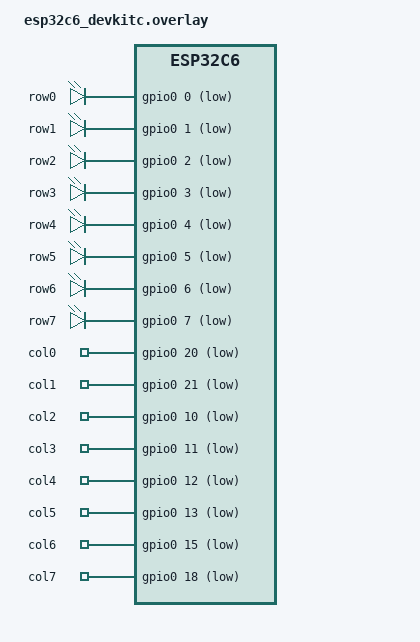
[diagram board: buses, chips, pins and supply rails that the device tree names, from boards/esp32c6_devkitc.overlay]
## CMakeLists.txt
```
# SPDX-License-Identifier: Apache-2.0

cmake_minimum_required(VERSION 3.20.0)

find_package(Zephyr REQUIRED HINTS $ENV{ZEPHYR_BASE})
project(smart_dartboard)

target_sources(app PRIVATE
    src/main.c
    src/matrix.c
    src/game.c
    src/ble.c
)

target_include_directories(app PRIVATE src)
```

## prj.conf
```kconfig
# ═══════════════════════════════════════════════════════════════════════════
# Smart Dartboard — Zephyr Project Configuration
# Target: ESP32-C6-DevKitC-1 (N4)
# Mode: BLE (GranBoard-compatible peripheral)
# ═══════════════════════════════════════════════════════════════════════════

# --- Core ---
CONFIG_MAIN_STACK_SIZE=8192
CONFIG_HEAP_MEM_POOL_SIZE=196608
CONFIG_SYSTEM_WORKQUEUE_STACK_SIZE=4096

# --- GPIO ---
CONFIG_GPIO=y

# --- Console / Logging ---
CONFIG_SERIAL=y
CONFIG_CONSOLE=y
CONFIG_UART_CONSOLE=y
CONFIG_LOG=y
CONFIG_LOG_DEFAULT_LEVEL=3
CONFIG_PRINTK=y

# --- Bluetooth Low Energy ---
CONFIG_BT=y
CONFIG_BT_PERIPHERAL=y
CONFIG_BT_DEVICE_NAME="GranBoard"
CONFIG_BT_DEVICE_APPEARANCE=0
CONFIG_BT_MAX_CONN=1
CONFIG_BT_MAX_PAIRED=1

# BLE buffer tuning — ensure notifications don't stall the controller.
# Default ACL TX count is 3; bumping to 7 gives headroom for the
# separator + hit pair without back-pressure blocking the system workqueue.
CONFIG_BT_BUF_ACL_TX_COUNT=7
CONFIG_BT_L2CAP_TX_BUF_COUNT=7

# --- Threads ---
CONFIG_THREAD_NAME=y
```

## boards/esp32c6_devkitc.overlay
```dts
/*
 * Devicetree overlay for ESP32-C6-DevKitC-1 (N4)
 * Smart Dartboard — 8x8 matrix pin assignments
 *
 * Row outputs (active-low scan):  GPIO 0,1,2,3,4,5,6,7
 * Column inputs (pull-up):        GPIO 20,21,10,11,12,13,15,18
 */

/ {
    dartboard_matrix {
        compatible = "gpio-leds";

        /* Row output pins (directly driven) */
        row0: row_0 { gpios = <&gpio0 0 GPIO_ACTIVE_LOW>; };
        row1: row_1 { gpios = <&gpio0 1 GPIO_ACTIVE_LOW>; };
        row2: row_2 { gpios = <&gpio0 2 GPIO_ACTIVE_LOW>; };
        row3: row_3 { gpios = <&gpio0 3 GPIO_ACTIVE_LOW>; };
        row4: row_4 { gpios = <&gpio0 4 GPIO_ACTIVE_LOW>; };
        row5: row_5 { gpios = <&gpio0 5 GPIO_ACTIVE_LOW>; };
        row6: row_6 { gpios = <&gpio0 6 GPIO_ACTIVE_LOW>; };
        row7: row_7 { gpios = <&gpio0 7 GPIO_ACTIVE_LOW>; };
    };

    dartboard_columns {
        compatible = "gpio-keys";

        /* Column input pins (active-low, with pull-up) */
        col0: col_0 { gpios = <&gpio0 20 (GPIO_ACTIVE_LOW | GPIO_PULL_UP)>; };
        col1: col_1 { gpios = <&gpio0 21 (GPIO_ACTIVE_LOW | GPIO_PULL_UP)>; };
        col2: col_2 { gpios = <&gpio0 10 (GPIO_ACTIVE_LOW | GPIO_PULL_UP)>; };
        col3: col_3 { gpios = <&gpio0 11 (GPIO_ACTIVE_LOW | GPIO_PULL_UP)>; };
        col4: col_4 { gpios = <&gpio0 12 (GPIO_ACTIVE_LOW | GPIO_PULL_UP)>; };
        col5: col_5 { gpios = <&gpio0 13 (GPIO_ACTIVE_LOW | GPIO_PULL_UP)>; };
        col6: col_6 { gpios = <&gpio0 15 (GPIO_ACTIVE_LOW | GPIO_PULL_UP)>; };
        col7: col_7 { gpios = <&gpio0 18 (GPIO_ACTIVE_LOW | GPIO_PULL_UP)>; };
    };

    aliases {
        dartboard-row0 = &row0;
        dartboard-row1 = &row1;
        dartboard-row2 = &row2;
        dartboard-row3 = &row3;
        dartboard-row4 = &row4;
        dartboard-row5 = &row5;
        dartboard-row6 = &row6;
        dartboard-row7 = &row7;
        dartboard-col0 = &col0;
        dartboard-col1 = &col1;
        dartboard-col2 = &col2;
        dartboard-col3 = &col3;
        dartboard-col4 = &col4;
        dartboard-col5 = &col5;
        dartboard-col6 = &col6;
        dartboard-col7 = &col7;
    };
};
```

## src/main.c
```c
/*
 * SPDX-License-Identifier: Apache-2.0
 *
 * Smart Dartboard — Main entry point
 * Zephyr RTOS application for ESP32-C6-DevKitC-1 (N4)
 *
 * Architecture:
 *   - Main thread: BLE initialization (GranBoard-compatible peripheral)
 *   - Matrix scan thread: Dedicated thread for continuous 8x8 matrix scanning
 *
 * The board acts as a "dumb" BLE peripheral — it detects dart hits via
 * the contact matrix and sends GranBoard-format notifications over BLE.
 * Game logic runs on the connected phone app.
 */

#include "dartboard.h"

LOG_MODULE_REGISTER(main_app, LOG_LEVEL_INF);

/* ═══════════════════════════════════════════════════════════════════════════
 * MATRIX SCAN THREAD
 *
 * Runs continuously, scanning the 8x8 contact matrix and processing hits.
 * Separated from the main thread to avoid blocking BLE handling.
 * ═══════════════════════════════════════════════════════════════════════════ */

#define MATRIX_STACK_SIZE  4096
#define MATRIX_PRIORITY    7      /* Cooperative priority */

static void matrix_thread_entry(void *p1, void *p2, void *p3)
{
    ARG_UNUSED(p1);
    ARG_UNUSED(p2);
    ARG_UNUSED(p3);

    LOG_INF("Matrix scan thread started");

    while (1) {
        matrix_scan_loop();
        k_msleep(5);  /* 5 ms between scans (same as original) */
    }
}

K_THREAD_DEFINE(matrix_thread, MATRIX_STACK_SIZE,
                matrix_thread_entry, NULL, NULL, NULL,
                MATRIX_PRIORITY, 0, -1);  /* -1 = don't auto-start */

/* ═══════════════════════════════════════════════════════════════════════════
 * MAIN
 * ═══════════════════════════════════════════════════════════════════════════ */

int main(void)
{
    LOG_INF("=== Smart Dartboard (BLE) ===");
    LOG_INF("Platform: ESP32-C6-DevKitC-1 (N4)");
    LOG_INF("RTOS: Zephyr %s", STRINGIFY(BUILD_VERSION));

    /* Initialize the 8x8 contact matrix GPIO */
    int ret = matrix_init();
    if (ret) {
        LOG_ERR("Matrix init failed: %d", ret);
        return ret;
    }

    if (CALIBRATION_MODE) {
        LOG_INF("=== CALIBRATION MODE ===");
        LOG_INF("Touch each segment. Note PAx + PEy.");
        /* Start matrix thread — no BLE needed in calibration */
        k_thread_start(matrix_thread);
        return 0;  /* main returns, matrix thread keeps running */
    }

    /* Initialize BLE (GranBoard-compatible peripheral) */
    ret = ble_init();
    if (ret) {
        LOG_ERR("BLE init failed: %d", ret);
        /* Continue anyway — matrix scanning still works for logging */
    }

    /* Start the matrix scan thread */
    k_thread_start(matrix_thread);
    LOG_INF("System ready — matrix scanning active, BLE advertising");

    /* Main thread has nothing more to do.
     * The matrix scan thread handles dartboard scanning,
     * and Zephyr's BLE stack runs in its own context. */
    return 0;
}
```

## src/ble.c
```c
/*
 * SPDX-License-Identifier: Apache-2.0
 *
 * Smart Dartboard — BLE module (GranBoard-compatible)
 *
 * Emulates a GranBoard BLE peripheral so existing apps
 * (DaDartboard, gran-app, etc.) can connect and receive
 * dart hit notifications.
 *
 * Protocol (reverse-engineered from sobassy/gran-app):
 *   Service UUID: 442f1570-8a00-9a28-cbe1-e1d4212d53eb
 *   Notify characteristic: sends ASCII "row.col@" on each hit
 *   where @ = 0x40 terminator byte.
 *
 * Target: ESP32-C6-DevKitC-1 (N4)
 */

#include "dartboard.h"
#include <zephyr/bluetooth/bluetooth.h>
#include <zephyr/bluetooth/gatt.h>
#include <zephyr/bluetooth/uuid.h>
#include <zephyr/bluetooth/conn.h>
#include <zephyr/kernel.h>

LOG_MODULE_REGISTER(ble, LOG_LEVEL_INF);

/* ═══════════════════════════════════════════════════════════════════════════
 * GRANBOARD BLE PROTOCOL CONSTANTS
 *
 * The GranBoard service UUID and the characteristic used for hit
 * notifications. Apps filter BLE scan results by this service UUID.
 * ═══════════════════════════════════════════════════════════════════════════ */

/* GranBoard primary service UUID: 442f1570-8a00-9a28-cbe1-e1d4212d53eb */
static struct bt_uuid_128 granboard_svc_uuid = BT_UUID_INIT_128(
    BT_UUID_128_ENCODE(0x442f1570, 0x8a00, 0x9a28, 0xcbe1, 0xe1d4212d53eb));

/* Notify characteristic UUID (+1): board → app, dart hit events */
static struct bt_uuid_128 granboard_notify_uuid = BT_UUID_INIT_128(
    BT_UUID_128_ENCODE(0x442f1571, 0x8a00, 0x9a28, 0xcbe1, 0xe1d4212d53eb));

/* Write characteristic UUID (+2): app → board, LED commands / handshake */
static struct bt_uuid_128 granboard_write_uuid = BT_UUID_INIT_128(
    BT_UUID_128_ENCODE(0x442f1572, 0x8a00, 0x9a28, 0xcbe1, 0xe1d4212d53eb));

/* Info characteristic UUID (+3): board info / capability read */
static struct bt_uuid_128 granboard_info_uuid = BT_UUID_INIT_128(
    BT_UUID_128_ENCODE(0x442f1573, 0x8a00, 0x9a28, 0xcbe1, 0xe1d4212d53eb));

/* ═══════════════════════════════════════════════════════════════════════════
 * GRANBOARD SEGMENT CODE TABLE
 *
 * Maps our dartboard segment strings (e.g., "S20", "T19", "BULL") to
 * the GranBoard BLE notification byte sequences.
 *
 * GranBoard sends ASCII "row.col@" where @ = 0x40 = 64 decimal.
 * The bytes in the open-source mapping are decimal ASCII codes:
 *   e.g., "50-46-51-64" means bytes { '2', '.', '3', '@' } = "2.3@"
 *
 * We store the raw byte arrays to send over BLE notify.
 * ═══════════════════════════════════════════════════════════════════════════ */

struct ble_segment_code {
    const char *segment;    /* Our segment string, e.g. "S1", "T20", "BULL" */
    uint8_t     data[6];    /* Bytes to send (max 5 + NUL) */
    uint8_t     len;        /* Number of bytes to send */
};

/* Table built from the gran-app SEGMENT_MAPPING reverse lookup.
 * GranBoard has INNER (=Single), TRP (=Triple), OUTER (=Single outer),
 * DBL (=Double) for each number. Our board uses S (=Single), T (=Triple),
 * D (=Double). GranBoard distinguishes inner/outer single; our board does
 * not — we map our S to INNER.
 *
 * Byte format: ASCII chars of "row.col" followed by 0x40 ('@'). */

static const struct ble_segment_code segment_codes[] = {
    /* Number 1:  INNER "2.3@", TRIPLE "2.4@", OUTER "2.5@", DOUBLE "2.6@" */
    {"S1",    {50, 46, 51, 64},          4},
    {"T1",    {50, 46, 52, 64},          4},
    {"OS1",   {50, 46, 53, 64},          4},
    {"D1",    {50, 46, 54, 64},          4},
    /* Number 2:  INNER "9.1@", TRIPLE "9.0@", OUTER "9.2@", DOUBLE "8.2@" */
    {"S2",    {57, 46, 49, 64},          4},
    {"T2",    {57, 46, 48, 64},          4},
    {"OS2",   {57, 46, 50, 64},          4},
    {"D2",    {56, 46, 50, 64},          4},
    /* Number 3:  INNER "7.1@", TRIPLE "7.0@", OUTER "7.2@", DOUBLE "8.4@" */
    {"S3",    {55, 46, 49, 64},          4},
    {"T3",    {55, 46, 48, 64},          4},
    {"OS3",   {55, 46, 50, 64},          4},
    {"D3",    {56, 46, 52, 64},          4},
    /* Number 4:  INNER "0.1@", TRIPLE "0.3@", OUTER "0.5@", DOUBLE "0.6@" */
    {"S4",    {48, 46, 49, 64},          4},
    {"T4",    {48, 46, 51, 64},          4},
    {"OS4",   {48, 46, 53, 64},          4},
    {"D4",    {48, 46, 54, 64},          4},
    /* Number 5:  INNER "5.1@", TRIPLE "5.2@", OUTER "5.4@", DOUBLE "4.6@" */
    {"S5",    {53, 46, 49, 64},          4},
    {"T5",    {53, 46, 50, 64},          4},
    {"OS5",   {53, 46, 52, 64},          4},
    {"D5",    {52, 46, 54, 64},          4},
    /* Number 6:  INNER "1.0@", TRIPLE "1.1@", OUTER "1.3@", DOUBLE "4.4@" */
    {"S6",    {49, 46, 48, 64},          4},
    {"T6",    {49, 46, 49, 64},          4},
    {"OS6",   {49, 46, 51, 64},          4},
    {"D6",    {52, 46, 52, 64},          4},
    /* Number 7:  INNER "11.1@", TRIPLE "11.2@", OUTER "11.4@", DOUBLE "8.6@" */
    {"S7",    {49, 49, 46, 49, 64},      5},
    {"T7",    {49, 49, 46, 50, 64},      5},
    {"OS7",   {49, 49, 46, 52, 64},      5},
    {"D7",    {56, 46, 54, 64},          4},
    /* Number 8:  INNER "6.2@", TRIPLE "6.4@", OUTER "6.5@", DOUBLE "6.6@" */
    {"S8",    {54, 46, 50, 64},          4},
    {"T8",    {54, 46, 52, 64},          4},
    {"OS8",   {54, 46, 53, 64},          4},
    {"D8",    {54, 46, 54, 64},          4},
    /* Number 9:  INNER "9.3@", TRIPLE "9.4@", OUTER "9.5@", DOUBLE "9.6@" */
    {"S9",    {57, 46, 51, 64},          4},
    {"T9",    {57, 46, 52, 64},          4},
    {"OS9",   {57, 46, 53, 64},          4},
    {"D9",    {57, 46, 54, 64},          4},
    /* Number 10: INNER "2.0@", TRIPLE "2.1@", OUTER "2.2@", DOUBLE "4.3@" */
    {"S10",   {50, 46, 48, 64},          4},
    {"T10",   {50, 46, 49, 64},          4},
    {"OS10",  {50, 46, 50, 64},          4},
    {"D10",   {52, 46, 51, 64},          4},
    /* Number 11: INNER "7.3@", TRIPLE "7.4@", OUTER "7.5@", DOUBLE "7.6@" */
    {"S11",   {55, 46, 51, 64},          4},
    {"T11",   {55, 46, 52, 64},          4},
    {"OS11",  {55, 46, 53, 64},          4},
    {"D11",   {55, 46, 54, 64},          4},
    /* Number 12: INNER "5.0@", TRIPLE "5.3@", OUTER "5.5@", DOUBLE "5.6@" */
    {"S12",   {53, 46, 48, 64},          4},
    {"T12",   {53, 46, 51, 64},          4},
    {"OS12",  {53, 46, 53, 64},          4},
    {"D12",   {53, 46, 54, 64},          4},
    /* Number 13: INNER "0.0@", TRIPLE "0.2@", OUTER "0.4@", DOUBLE "4.5@" */
    {"S13",   {48, 46, 48, 64},          4},
    {"T13",   {48, 46, 50, 64},          4},
    {"OS13",  {48, 46, 52, 64},          4},
    {"D13",   {52, 46, 53, 64},          4},
    /* Number 14: INNER "10.3@", TRIPLE "10.4@", OUTER "10.5@", DOUBLE "10.6@" */
    {"S14",   {49, 48, 46, 51, 64},      5},
    {"T14",   {49, 48, 46, 52, 64},      5},
    {"OS14",  {49, 48, 46, 53, 64},      5},
    {"D14",   {49, 48, 46, 54, 64},      5},
    /* Number 15: INNER "3.0@", TRIPLE "3.1@", OUTER "3.2@", DOUBLE "4.2@" */
    {"S15",   {51, 46, 48, 64},          4},
    {"T15",   {51, 46, 49, 64},          4},
    {"OS15",  {51, 46, 50, 64},          4},
    {"D15",   {52, 46, 50, 64},          4},
    /* Number 16: INNER "11.0@", TRIPLE "11.3@", OUTER "11.5@", DOUBLE "11.6@" */
    {"S16",   {49, 49, 46, 48, 64},      5},
    {"T16",   {49, 49, 46, 51, 64},      5},
    {"OS16",  {49, 49, 46, 53, 64},      5},
    {"D16",   {49, 49, 46, 54, 64},      5},
    /* Number 17: INNER "10.1@", TRIPLE "10.0@", OUTER "10.2@", DOUBLE "8.3@" */
    {"S17",   {49, 48, 46, 49, 64},      5},
    {"T17",   {49, 48, 46, 48, 64},      5},
    {"OS17",  {49, 48, 46, 50, 64},      5},
    {"D17",   {56, 46, 51, 64},          4},
    /* Number 18: INNER "1.2@", TRIPLE "1.4@", OUTER "1.5@", DOUBLE "1.6@" */
    {"S18",   {49, 46, 50, 64},          4},
    {"T18",   {49, 46, 52, 64},          4},
    {"OS18",  {49, 46, 53, 64},          4},
    {"D18",   {49, 46, 54, 64},          4},
    /* Number 19: INNER "6.1@", TRIPLE "6.0@", OUTER "6.3@", DOUBLE "8.5@" */
    {"S19",   {54, 46, 49, 64},          4},
    {"T19",   {54, 46, 48, 64},          4},
    {"OS19",  {54, 46, 51, 64},          4},
    {"D19",   {56, 46, 53, 64},          4},
    /* Number 20: INNER "3.3@", TRIPLE "3.4@", OUTER "3.5@", DOUBLE "3.6@" */
    {"S20",   {51, 46, 51, 64},          4},
    {"T20",   {51, 46, 52, 64},          4},
    {"OS20",  {51, 46, 53, 64},          4},
    {"D20",   {51, 46, 54, 64},          4},
    /* Bull */
    {"BULL",  {56, 46, 48, 64},          4},  /* BULL:     "8.0@" */
    {"DBULL", {52, 46, 48, 64},          4},  /* DBL_BULL: "4.0@" */
    /* Reset button */
    {"BTN",   {66, 84, 78, 64},          4},  /* RESET:    "BTN@" */
};

#define NUM_SEGMENT_CODES  ARRAY_SIZE(segment_codes)

/* ═══════════════════════════════════════════════════════════════════════════
 * BLE STATE
 * ═══════════════════════════════════════════════════════════════════════════ */

static bool ble_connected;
static bool ble_notifications_enabled;
static struct bt_conn *current_conn;

/* Delayable work item for restarting advertising after disconnect.
 * bt_le_adv_start called directly in the disconnected callback can fail with
 * -ENOMEM because BLE buffers haven't been fully released yet. */
static struct k_work_delayable adv_restart_work;

/* Static board info response — real GranBoard returns a capability/version
 * byte here. We return a plausible value (0x01) and log what the app reads.
 * Adjust once we know what value the official app expects. */
static uint8_t board_info_val[4] = {0x01, 0x00, 0x00, 0x00};

/* ═══════════════════════════════════════════════════════════════════════════
 * GATT SERVICE DEFINITION
 * ═══════════════════════════════════════════════════════════════════════════ */

static void notify_ccc_changed(const struct bt_gatt_attr *attr, uint16_t value)
{
    ble_notifications_enabled = (value == BT_GATT_CCC_NOTIFY);
    LOG_INF("BLE notifications %s", ble_notifications_enabled ? "enabled" : "disabled");
}

/* Write handler for 442f1572 (LED command characteristic).
 * The official app writes LED commands here after connecting.
 * We just log the bytes — no response needed. */
static ssize_t write_led_cmd(struct bt_conn *conn,
                              const struct bt_gatt_attr *attr,
                              const void *buf, uint16_t len,
                              uint16_t offset, uint8_t flags)
{
    const uint8_t *data = buf;
    LOG_INF("LED cmd (%u bytes): %02x %02x %02x %02x ...",
            len,
            len > 0 ? data[0] : 0,
            len > 1 ? data[1] : 0,
            len > 2 ? data[2] : 0,
            len > 3 ? data[3] : 0);
    return len;
}

/* Read handler for 442f1573 (board info characteristic).
 * Returns board_info_val — adjust once we know what the app expects. */
static ssize_t read_board_info(struct bt_conn *conn,
                                const struct bt_gatt_attr *attr,
                                void *buf, uint16_t len, uint16_t offset)
{
    LOG_INF("Board info read (offset %u)", offset);
    return bt_gatt_attr_read(conn, attr, buf, len, offset,
                             board_info_val, sizeof(board_info_val));
}

/* GATT service table:
 *   - Primary Service: GranBoard UUID
 *   - Characteristic 1571: Notify (hit events) + CCC
 *   - Characteristic 1572: Write (LED commands from app)
 *   - Characteristic 1573: Read (board info) */
BT_GATT_SERVICE_DEFINE(granboard_svc,
    BT_GATT_PRIMARY_SERVICE(&granboard_svc_uuid),
    /* 442f1571 — notify (board → app) */
    BT_GATT_CHARACTERISTIC(&granboard_notify_uuid.uuid,
                           BT_GATT_CHRC_NOTIFY,
                           BT_GATT_PERM_NONE,
                           NULL, NULL, NULL),
    BT_GATT_CCC(notify_ccc_changed,
                 BT_GATT_PERM_READ | BT_GATT_PERM_WRITE),
    /* 442f1572 — write (app → board, LED commands) */
    BT_GATT_CHARACTERISTIC(&granboard_write_uuid.uuid,
                           BT_GATT_CHRC_WRITE | BT_GATT_CHRC_WRITE_WITHOUT_RESP,
                           BT_GATT_PERM_WRITE,
                           NULL, write_led_cmd, NULL),
    /* 442f1573 — read (board info / capability) */
    BT_GATT_CHARACTERISTIC(&granboard_info_uuid.uuid,
                           BT_GATT_CHRC_READ,
                           BT_GATT_PERM_READ,
                           read_board_info, NULL, board_info_val),
);

/* ═══════════════════════════════════════════════════════════════════════════
 * ADVERTISING DATA
 *
 * We advertise the GranBoard service UUID in the main packet so apps
 * can discover us by UUID filtering (passive or active scan).
 * The device name ("GranBoard") is in the scan response only — this keeps
 * the main advertising packet within the 31-byte BLE limit.
 * (FLAGS=3 + UUID128=18 = 21 bytes; adding the 11-byte name would exceed 31.)
 *
 * BT_LE_ADV_OPT_USE_IDENTITY forces use of the public/static address
 * (A0:F2:62:45:CE:BE) — no RPA rotation. This is required for Android
 * to connect without a warning icon.
 * ═══════════════════════════════════════════════════════════════════════════ */

static const struct bt_data ad[] = {
    BT_DATA_BYTES(BT_DATA_FLAGS,
                  (BT_LE_AD_GENERAL | BT_LE_AD_NO_BREDR)),
    BT_DATA_BYTES(BT_DATA_UUID128_ALL,
                  BT_UUID_128_ENCODE(0x442f1570, 0x8a00, 0x9a28,
                                     0xcbe1, 0xe1d4212d53eb)),
};

/* Scan response carries the device name for active-scan clients.
 * The UUID is in the main ad[] because apps filter by service UUID. */
static const struct bt_data sd[] = {
    BT_DATA(BT_DATA_NAME_COMPLETE, CONFIG_BT_DEVICE_NAME,
            sizeof(CONFIG_BT_DEVICE_NAME) - 1),
};

/* Advertising parameters: connectable, use public/identity address.
 * BT_LE_ADV_OPT_USE_IDENTITY prevents RPA rotation so Android connects
 * cleanly without a "cannot connect" warning. */
static const struct bt_le_adv_param adv_params =
    BT_LE_ADV_PARAM_INIT(BT_LE_ADV_OPT_CONN | BT_LE_ADV_OPT_USE_IDENTITY,
                         BT_GAP_ADV_FAST_INT_MIN_2,
                         BT_GAP_ADV_FAST_INT_MAX_2,
                         NULL);

/* ═══════════════════════════════════════════════════════════════════════════
 * CONNECTION CALLBACKS
 * ═══════════════════════════════════════════════════════════════════════════ */

static void on_connected(struct bt_conn *conn, uint8_t err)
{
    if (err) {
        LOG_ERR("BLE connection failed (err %u)", err);
        return;
    }

    LOG_INF("BLE connected");
    current_conn = bt_conn_ref(conn);
    ble_connected = true;
}

static void adv_restart_handler(struct k_work *work)
{
    int ret = bt_le_adv_start(&adv_params,
                              ad, ARRAY_SIZE(ad),
                              sd, ARRAY_SIZE(sd));
    if (ret) {
        LOG_ERR("Failed to restart advertising (err %d) — retrying", ret);
        /* Retry after another 500ms if it still fails */
        k_work_schedule(&adv_restart_work, K_MSEC(500));
    } else {
        LOG_INF("BLE advertising restarted after disconnect");
    }
}

static void on_disconnected(struct bt_conn *conn, uint8_t reason)
{
    LOG_INF("BLE disconnected (reason %u)", reason);

    if (current_conn) {
        bt_conn_unref(current_conn);
        current_conn = NULL;
    }
    ble_connected = false;
    ble_notifications_enabled = false;

    /* Schedule advertising restart after 500ms so the BLE stack has time
     * to release connection resources (immediate restart can fail -ENOMEM). */
    k_work_schedule(&adv_restart_work, K_MSEC(500));
}

BT_CONN_CB_DEFINE(conn_callbacks) = {
    .connected = on_connected,
    .disconnected = on_disconnected,
};

/* ═══════════════════════════════════════════════════════════════════════════
 * PUBLIC API
 * ═══════════════════════════════════════════════════════════════════════════ */

int ble_init(void)
{
    int err;

    LOG_INF("Initializing BLE (GranBoard-compatible)");

    k_work_init_delayable(&adv_restart_work, adv_restart_handler);

    err = bt_enable(NULL);
    if (err) {
        LOG_ERR("Bluetooth init failed (err %d)", err);
        return err;
    }

    LOG_INF("Bluetooth initialized");

    /* Start advertising */
    err = bt_le_adv_start(&adv_params,
                          ad, ARRAY_SIZE(ad),
                          sd, ARRAY_SIZE(sd));
    if (err) {
        LOG_ERR("Advertising failed to start (err %d)", err);
        return err;
    }

    LOG_INF("BLE advertising started — waiting for connection...");
    return 0;
}

void ble_notify_hit(const char *segment)
{
    if (!ble_connected || !ble_notifications_enabled || !current_conn) {
        LOG_INF("BLE notify skipped: conn=%d notif=%d ptr=%p",
                ble_connected, ble_notifications_enabled, current_conn);
        return;
    }

    /* Look up the GranBoard byte code for this segment */
    for (int i = 0; i < (int)NUM_SEGMENT_CODES; i++) {
        if (strcmp(segment_codes[i].segment, segment) == 0) {
            /*
             * Append a monotonic sequence counter byte to every notification
             * so that each packet is byte-unique.  Chrome's Web Bluetooth
             * implementation deduplicates consecutive GATT notifications
             * with identical payloads — the counter guarantees uniqueness
             * even when the same segment is hit repeatedly.
             *
             * Format:  [original GranBoard bytes...] [seqno]
             *
             * The web app strips or ignores trailing bytes after the 0x40
             * ('@') terminator when doing segment lookup.
             *
             * This replaces the previous {0x00} separator + 20ms delay
             * approach which blocked the calling thread and may have
             * contributed to BLE supervision timeouts.
             */
            static uint8_t seqno;
            uint8_t buf[7]; /* max 5 data bytes + 1 seqno */
            uint8_t len = segment_codes[i].len;

            memcpy(buf, segment_codes[i].data, len);
            buf[len] = ++seqno; /* wraps 0→255 naturally */
            len++;

            int err = bt_gatt_notify(current_conn,
                                     &granboard_svc.attrs[2],
                                     buf, len);
            if (err) {
                LOG_WRN("BLE notify FAILED for %s (err %d)", segment, err);
            } else {
                LOG_INF("BLE notify OK: %s seq=%u (%u bytes)",
                        segment, seqno, len);
            }
            return;
        }
    }

    LOG_WRN("No GranBoard code for segment: %s", segment);
}

bool ble_is_connected(void)
{
    return ble_connected;
}
```

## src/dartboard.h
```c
/*
 * SPDX-License-Identifier: Apache-2.0
 *
 * Smart Dartboard — Common header
 * Zephyr RTOS on ESP32-C6-DevKitC-1 (N4)
 *
 * BLE mode: Emulates a GranBoard peripheral so existing dart apps
 * (DaDartboard, gran-app, etc.) can connect and receive hit events.
 * All game logic runs on the phone app.
 */

#ifndef DARTBOARD_H
#define DARTBOARD_H

#include <zephyr/kernel.h>
#include <zephyr/device.h>
#include <zephyr/drivers/gpio.h>
#include <zephyr/logging/log.h>

#include <string.h>
#include <stdlib.h>
#include <stdio.h>

/* ═══════════════════════════════════════════════════════════════════════════
 * CONFIGURATION
 * ═══════════════════════════════════════════════════════════════════════════ */

#define CALIBRATION_MODE  0

/* ═══════════════════════════════════════════════════════════════════════════
 * MATRIX DEFINITION
 * ═══════════════════════════════════════════════════════════════════════════ */

#define NUM_ROWS  8
#define NUM_COLS  8

/* ═══════════════════════════════════════════════════════════════════════════
 * SHARED STATE
 * ═══════════════════════════════════════════════════════════════════════════ */

extern bool seated_darts[NUM_ROWS][NUM_COLS];

/* Mutex protecting seated_darts and serializing hit handling */
extern struct k_mutex game_mutex;

/* ═══════════════════════════════════════════════════════════════════════════
 * MATRIX MODULE (matrix.c)
 * ═══════════════════════════════════════════════════════════════════════════ */

int  matrix_init(void);
void matrix_scan_loop(void);
int  count_active_contacts(void);
bool is_matrix_quiet(void);
void wait_for_full_release(void);
void wait_for_settle(void);
void clear_seated_darts(void);

/* ═══════════════════════════════════════════════════════════════════════════
 * SCORING HELPERS (game.c)
 * ═══════════════════════════════════════════════════════════════════════════ */

int  get_points(const char *hit);

/* ═══════════════════════════════════════════════════════════════════════════
 * BLE MODULE (ble.c) — GranBoard-compatible peripheral
 * ═══════════════════════════════════════════════════════════════════════════ */

int  ble_init(void);
void ble_notify_hit(const char *segment);
bool ble_is_connected(void);

#endif /* DARTBOARD_H */
```

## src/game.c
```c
/*
 * SPDX-License-Identifier: Apache-2.0
 *
 * Smart Dartboard — Hit handler
 *
 * In BLE mode the board is a "dumb" peripheral: it detects dart hits,
 * sends GranBoard-format BLE notifications (done in matrix.c before
 * calling here), then marks the contact as seated so subsequent scans
 * skip it.  Seated contacts are cleared once all darts are removed.
 *
 * All game logic (scoring, turns, players) runs on the connected
 * phone app — this module only provides scoring helpers for logging.
 *
 * Target: ESP32-C6-DevKitC-1 (N4)
 */

#include "dartboard.h"

LOG_MODULE_REGISTER(game, LOG_LEVEL_INF);

/* ═══════════════════════════════════════════════════════════════════════════
 * SHARED STATE
 * ═══════════════════════════════════════════════════════════════════════════ */

bool seated_darts[NUM_ROWS][NUM_COLS];

K_MUTEX_DEFINE(game_mutex);

/* ═══════════════════════════════════════════════════════════════════════════
 * SCORING HELPERS (used for log readability)
 * ═══════════════════════════════════════════════════════════════════════════ */

int get_points(const char *hit)
{
    if (strcmp(hit, "BULL") == 0)  return 25;
    if (strcmp(hit, "DBULL") == 0) return 50;
    if (hit[0] == '?' || strlen(hit) < 2) return 0;

    int number = atoi(hit + 1);
    char p = hit[0];
    if (p == 'T') return number * 3;
    if (p == 'D') return number * 2;
    if (p == 'S') return number;
    return 0;
}
```

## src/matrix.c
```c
/*
 * SPDX-License-Identifier: Apache-2.0
 *
 * Smart Dartboard — Matrix scanning module
 * 8x8 row-column contact matrix scan using Zephyr GPIO API
 * Target: ESP32-C6-DevKitC-1 (N4)
 */

#include "dartboard.h"

LOG_MODULE_REGISTER(matrix, LOG_LEVEL_INF);

/* ═══════════════════════════════════════════════════════════════════════════
 * GPIO PIN DEFINITIONS
 *
 * Row outputs:  GPIO 0,1,2,3,4,5,6,7    (active LOW scan)
 * Col inputs:   GPIO 20,21,10,11,12,13,15,18  (INPUT_PULLUP, read LOW = contact)
 * ═══════════════════════════════════════════════════════════════════════════ */

static const int row_pins[NUM_ROWS] = {0, 1, 2, 3, 4, 5, 6, 7};
static const int col_pins[NUM_COLS] = {20, 21, 10, 11, 12, 13, 15, 18};

static const struct device *gpio_dev;

/* ═══════════════════════════════════════════════════════════════════════════
 * SEGMENT MAP
 *
 * segmentos[row][col] — maps each matrix intersection to a dartboard segment.
 * Prefixes: S=Single, D=Double, T=Triple, BULL=25, DBULL=50, ??=unmapped
 * ═══════════════════════════════════════════════════════════════════════════ */

static const char *segments[NUM_ROWS][NUM_COLS] = {
    /* PA0 */ {"S12", "BULL", "T12", "T5",  "S5",  "D5",  "D12", "??"},
    /* PA1 */ {"S9",  "DBULL","T9",  "T20", "S20", "D20", "??",  "D9"},
    /* PA2 */ {"S14", "S11",  "S8",  "S16", "S7",  "S19", "S3",  "S17"},
    /* PA3 */ {"D14", "D11",  "D8",  "D16", "D7",  "D19", "D3",  "D17"},
    /* PA4 */ {"T14", "T11",  "T8",  "T16", "T7",  "T19", "T3",  "T17"},
    /* PA5 */ {"T1",  "T18",  "T4",  "T13", "T6",  "T10", "T15", "T2"},
    /* PA6 */ {"S1",  "S18",  "S4",  "S13", "S6",  "S10", "S15", "S2"},
    /* PA7 */ {"D1",  "D18",  "D4",  "D13", "D6",  "D10", "D15", "D2"},
};

/* ═══════════════════════════════════════════════════════════════════════════
 * GPIO HELPERS
 * ═══════════════════════════════════════════════════════════════════════════ */

static inline void row_set(int row, int value)
{
    gpio_pin_set(gpio_dev, row_pins[row], value);
}

static inline int col_read(int col)
{
    return gpio_pin_get(gpio_dev, col_pins[col]);
}

/* ═══════════════════════════════════════════════════════════════════════════
 * MATRIX INIT
 * ═══════════════════════════════════════════════════════════════════════════ */

int matrix_init(void)
{
    gpio_dev = DEVICE_DT_GET(DT_NODELABEL(gpio0));
    if (!device_is_ready(gpio_dev)) {
        LOG_ERR("GPIO device not ready");
        return -ENODEV;
    }

    /* Configure row pins as outputs, default HIGH (inactive) */
    for (int i = 0; i < NUM_ROWS; i++) {
        int ret = gpio_pin_configure(gpio_dev, row_pins[i],
                                     GPIO_OUTPUT_ACTIVE | GPIO_ACTIVE_HIGH);
        if (ret < 0) {
            LOG_ERR("Failed to configure row pin %d: %d", row_pins[i], ret);
            return ret;
        }
        gpio_pin_set(gpio_dev, row_pins[i], 1);  /* HIGH = inactive */
    }

    /* Configure column pins as inputs with pull-up */
    for (int j = 0; j < NUM_COLS; j++) {
        int ret = gpio_pin_configure(gpio_dev, col_pins[j],
                                     GPIO_INPUT | GPIO_PULL_UP);
        if (ret < 0) {
            LOG_ERR("Failed to configure col pin %d: %d", col_pins[j], ret);
            return ret;
        }
    }

    clear_seated_darts();
    LOG_INF("Matrix initialized: %d rows x %d cols", NUM_ROWS, NUM_COLS);
    return 0;
}

/* ═══════════════════════════════════════════════════════════════════════════
 * MATRIX UTILITIES
 * ═══════════════════════════════════════════════════════════════════════════ */

void clear_seated_darts(void)
{
    memset(seated_darts, 0, sizeof(seated_darts));
}

int count_active_contacts(void)
{
    int count = 0;

    for (int i = 0; i < NUM_ROWS; i++) {
        row_set(i, 0);          /* Drive row LOW */
        k_busy_wait(50);        /* 50 us settle */

        for (int j = 0; j < NUM_COLS; j++) {
            /* Skip unmapped cells (hardware noise) */
            if (segments[i][j][0] == '?') {
                continue;
            }
            if (col_read(j) == 0) {  /* Active-low with GPIO_PULL_UP: 0 = pressed */
                count++;
            }
        }
        row_set(i, 1);          /* Row back HIGH */
    }
    return count;
}

bool is_matrix_quiet(void)
{
    return count_active_contacts() == 0;
}

void wait_for_full_release(void)
{
    k_msleep(50);

    /* All rows HIGH */
    for (int i = 0; i < NUM_ROWS; i++) {
        row_set(i, 1);
    }

    /* Wait up to 10 seconds for all darts to be removed */
    int64_t t0 = k_uptime_get();
    while (!is_matrix_quiet() && (k_uptime_get() - t0) < 10000) {
        k_msleep(20);
    }

    k_msleep(150);
}

void wait_for_settle(void)
{
    /* All rows HIGH — stop driving during settle */
    for (int i = 0; i < NUM_ROWS; i++) {
        row_set(i, 1);
    }

    /* Wait for matrix to go quiet (bounce stops), capped at 300ms */
    int64_t t0 = k_uptime_get();
    while ((k_uptime_get() - t0) < 300) {
        k_msleep(10);
        if (is_matrix_quiet()) {
            break;
        }
    }

    /* Extra settling margin */
    k_msleep(60);
}

/* ═══════════════════════════════════════════════════════════════════════════
 * MATRIX SCAN LOOP
 *
 * Called from the dedicated matrix-scan thread. Performs one full scan
 * of the 8x8 matrix and processes any detected hits.
 *
 * Darts that are physically lodged in the board are tracked in the
 * seated_darts[][] array so they don't re-fire.  After a hit is detected
 * and notified over BLE, a short settle delay allows contact bounce to
 * subside, then scanning resumes immediately — there is no blocking wait
 * for dart removal.  This lets the board detect the next dart as soon as
 * it lands, even while previous darts are still in the board.
 *
 * The seated_darts array is cleared when the board goes fully quiet
 * (all darts removed) for QUIET_CLEAR_MS.
 * ═══════════════════════════════════════════════════════════════════════════ */

/** Time the matrix must be quiet before clearing seated darts (ms) */
#define QUIET_CLEAR_MS  500

static int64_t last_quiet_check;

void matrix_scan_loop(void)
{
    bool found_hit = false;

    for (int f = 0; f < NUM_ROWS; f++) {
        row_set(f, 0);          /* Drive row LOW */
        k_busy_wait(50);        /* 50 us settle */

        for (int c = 0; c < NUM_COLS; c++) {
            if (col_read(c) == 0 && !seated_darts[f][c]) {
                row_set(f, 1);  /* Row back HIGH before processing */

                const char *seg = segments[f][c];

                if (CALIBRATION_MODE) {
                    printk("PA%d + PE%d  ->  %s\n", f, c,
                           seg[0] == '?' ? "???" : seg);
                    wait_for_full_release();
                    return;     /* Exit scan — one hit at a time in cal mode */
                }

                /* Mark as seated immediately to prevent re-triggering */
                seated_darts[f][c] = true;

                /* Silently suppress unmapped cells */
                if (seg[0] == '?') {
                    return;
                }

                /* Send BLE notification (outside mutex — non-blocking) */
                ble_notify_hit(seg);

                /* Log the hit */
                k_mutex_lock(&game_mutex, K_FOREVER);
                {
                    char label[28];
                    int pts = get_points(seg);
                    LOG_INF("HIT: %s (%d pts)  [row=%d col=%d]", seg, pts, f, c);
                }
                k_mutex_unlock(&game_mutex);

                found_hit = true;

                /* Short settle delay after a hit to let contact bounce subside,
                 * then resume scanning so the next dart can be detected while
                 * previous darts remain in the board. */
                wait_for_settle();
                return;
            }
        }
        row_set(f, 1);          /* Row back HIGH */
    }

    /* If no new hit was found, check whether the board is fully quiet
     * (all darts removed) and clear seated state after a grace period. */
    if (!found_hit && is_matrix_quiet()) {
        int64_t now = k_uptime_get();
        if (last_quiet_check == 0) {
            last_quiet_check = now;
        } else if ((now - last_quiet_check) >= QUIET_CLEAR_MS) {
            k_mutex_lock(&game_mutex, K_FOREVER);
            clear_seated_darts();
            k_mutex_unlock(&game_mutex);
            last_quiet_check = 0;
        }
    } else {
        last_quiet_check = 0;
    }
}
```
